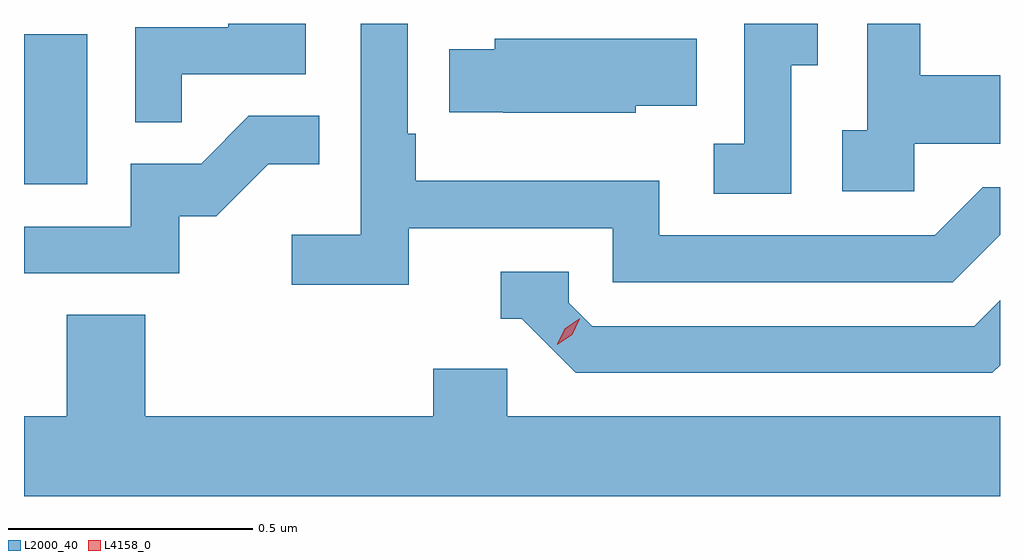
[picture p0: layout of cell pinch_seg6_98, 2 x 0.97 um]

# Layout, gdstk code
import gdstk
lib = gdstk.Library(unit=1e-6, precision=1e-09)
def R(c, l, rs):  # rectangles x0, y0, x1, y1
    for r in rs: c.add(gdstk.rectangle(r[:2], r[2:], *l))
def P(c, l, *ps):  # polygons
    for p in ps: c.add(gdstk.Polygon(p, *l))
L2000_40 = (2000, 40)
L4158_0 = (4158, 0)

pinch_seg6_98 = lib.new_cell('pinch_seg6_98')
R(pinch_seg6_98, L2000_40, [(932.808,922.668,932.938,922.975)])
P(pinch_seg6_98, L2000_40, [(933.131,922.893),(933.385,922.893),(933.385,922.997),(933.227,922.997),(933.227,922.989),(933.036,922.989),(933.036,922.795),(933.131,922.795)],
  [(933.596,922.578),(934.014,922.578),(934.014,922.467),(934.711,922.467),(934.808,922.564),(934.808,922.662),(934.773,922.662),(934.674,922.563),(934.11,922.563),(934.11,922.675),(933.611,922.675),(933.611,922.771),(933.594,922.771),(933.594,922.997),(933.498,922.997),(933.498,922.564),(933.357,922.564),(933.357,922.462),(933.596,922.462)],
  [(934.632,922.751),(934.808,922.751),(934.808,922.891),(934.645,922.891),(934.645,922.997),(934.536,922.997),(934.536,922.778),(934.485,922.778),(934.485,922.653),(934.632,922.653)],
  [(934.38,922.912),(934.435,922.912),(934.435,922.997),(934.284,922.997),(934.284,922.751),(934.221,922.751),(934.221,922.648),(934.38,922.648)],
  [(934.062,922.829),(934.187,922.829),(934.187,922.966),(933.773,922.966),(933.773,922.944),(933.679,922.944),(933.679,922.815),(933.79,922.815),(933.79,922.814),(934.062,922.814)],
  [(933.126,922.602),(933.202,922.602),(933.309,922.709),(933.413,922.709),(933.413,922.808),(933.269,922.808),(933.171,922.71),(933.027,922.71),(933.027,922.581),(932.808,922.581),(932.808,922.485),(933.126,922.485)],
  [(934.808,922.297),(934.808,922.43),(934.755,922.377),(933.972,922.377),(933.924,922.425),(933.924,922.488),(933.785,922.488),(933.785,922.392),(933.828,922.392),(933.939,922.281),(934.792,922.281)],
  [(934.808,922.192),(933.798,922.192),(933.798,922.29),(933.647,922.29),(933.647,922.192),(933.056,922.192),(933.056,922.4),(932.896,922.4),(932.896,922.192),(932.808,922.192),(932.808,922.028),(934.808,922.028)])
P(pinch_seg6_98, L4158_0, [(933.901,922.339),(933.901,922.34),(933.916,922.372),(933.946,922.392),(933.947,922.392),(933.947,922.392),(933.931,922.359),(933.901,922.339)])

lib.write_gds('pinch_seg6_98.gds')
